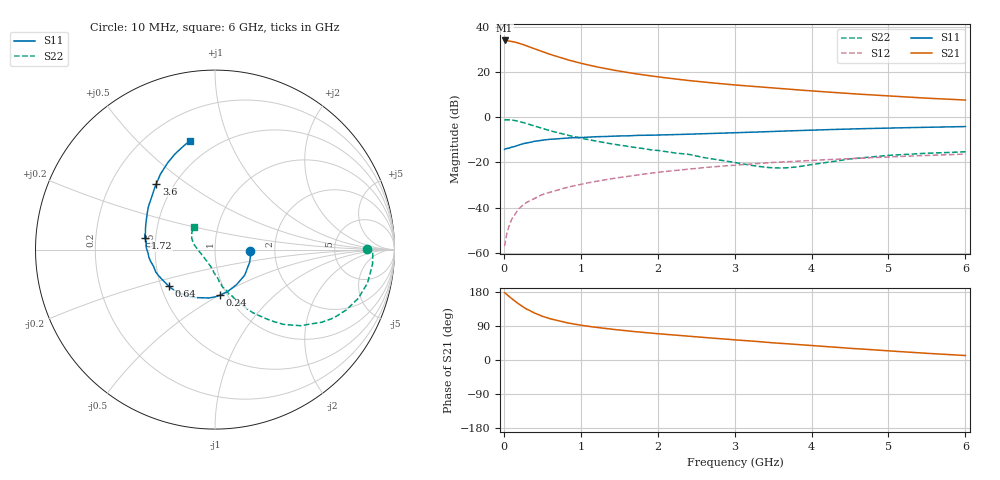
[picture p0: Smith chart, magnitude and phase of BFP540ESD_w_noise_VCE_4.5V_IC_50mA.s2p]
! Infineon Technologies  Discrete & RF Semiconductors
! BFP540ESD
! VCE =  4.5 V,  IC =  50 mA
! Common Emitter S-Parameters:  Nov 2015
# GHz  S  MA  R  50
!  f  S11  S21  S12  S22
! GHz  MAG  ANG  MAG  ANG  MAG  ANG  MAG  ANG
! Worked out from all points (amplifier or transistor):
!   210 points, 10 MHz to 6 GHz, reference 50 ohm
!   highest |S21| = 34.0 dB at 10 MHz (marker M1)
!   |S21| within 3 dB of that: start of sweep to 345.3 MHz
!   unconditionally stable (mu >= 1): start of sweep to 35.81 MHz; 1.512 GHz to end of sweep
!   at 185 MHz: K = 0.47, MSG = 36.9 dB, |S12| = -41.0 dB
!   at 1.52 GHz: K = 1.00, MAG = 23.2 dB, |S12| = -26.6 dB
!   at 6 GHz: K = 1.09, MAG = 10.1 dB, |S12| = -16.3 dB
!   lowest NFmin = 1.82 dB at 900 MHz
!   S11 on the Smith chart (normalised r, x): 10 MHz: 1.48, -0.02; 240 MHz: 0.92, -0.50; 640 MHz: 0.55, -0.25; 1.72 GHz: 0.43, +0.07; 3.6 GHz: 0.40, +0.39; 6 GHz: 0.37, +0.73
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0.01  0.1941 -2.2  50.01 177.4  0.0014 60.6  0.8464 0.3
0.02  0.2004 -8.2  49.36 176.1  0.0018 60.6  0.8793 -0.7
0.05  0.2058 -20.1  49.11 170.9  0.0031 68.6  0.8816 -5.2
0.1  0.2186 -41.0  47.79 162.4  0.0054 67.0  0.8699 -12.4
0.15  0.2293 -58.6  45.85 154.3  0.0073 67.8  0.8434 -18.8
0.2  0.2445 -73.4  43.35 146.8  0.0096 69.6  0.8047 -24.7
0.24  0.256 -84.0  41.11 141.4  0.011 70.4  0.7715 -28.8
0.3  0.272 -97.3  37.89 133.9  0.0131 68.5  0.7197 -34.2
0.4  0.2936 -114.7  32.7 123.7  0.0159 65.9  0.6386 -41.6
0.5  0.3118 -128.2  28.39 115.4  0.0194 65.0  0.5651 -47.5
0.6  0.3251 -138.4  24.66 109.0  0.0218 66.5  0.5036 -51.8
0.64  0.3275 -141.7  23.49 107.0  0.0229 66.2  0.4835 -53.2
0.8  0.3445 -153.8  19.3 99.0  0.0274 65.5  0.411 -59.0
1.02  0.3566 -165.8  15.39 91.2  0.0332 65.5  0.3395 -64.3
1.3  0.3727 -176.5  12.11 83.7  0.0409 64.1  0.2764 -69.7
1.72  0.3961 170.5  9.138 74.6  0.0523 61.7  0.2135 -78.5
2.02  0.4049 163.1  7.757 69.1  0.0608 60.0  0.1824 -82.4
3.1  0.4576 140.6  5.024 51.8  0.0892 50.7  0.093 -107.7
3.6  0.4917 131.7  4.297 44.0  0.102 45.8  0.0751 -143.0
4.1  0.5245 124.3  3.721 36.6  0.1129 41.2  0.0946 -179.0
5.1  0.5808 111.8  2.896 22.8  0.1341 31.7  0.1461 152.4
6  0.6212 103.1  2.402 11.8  0.153 24.5  0.1719 133.5
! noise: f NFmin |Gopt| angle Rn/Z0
0.9  1.82  0.49  -140  0.15
1.8  1.97  0.51  -142  0.15
2.4  2.02  0.52  -132  0.19
3  2.14  0.54  -123  0.26
4  2.19  0.61  -102  0.45
5  2.28  0.69  -86  0.67
6  2.72  0.63  -83  1.04
